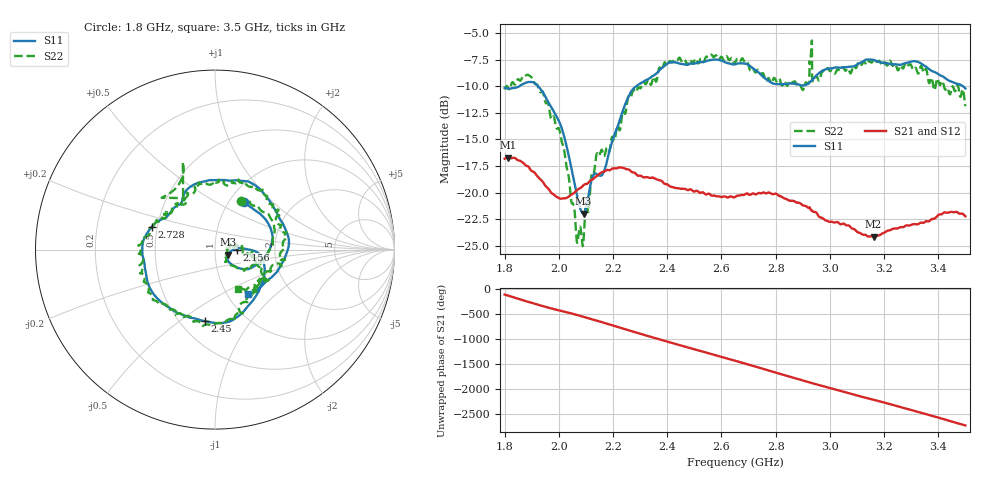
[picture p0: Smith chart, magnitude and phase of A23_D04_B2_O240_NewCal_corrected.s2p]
! Created with skrf 1.9.0 (http://scikit-rf.org).
# Hz S RI R 50.0
!freq ReS11 ImS11 ReS21 ImS21 ReS12 ImS12 ReS22 ImS22
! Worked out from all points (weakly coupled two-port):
!   1601 points, 1.8 GHz to 3.5 GHz, reference 50 ohm
!   highest |S21| = -16.71 dB at 1.812 GHz (marker M1); lowest = -24.2 dB at 3.161 GHz (marker M2)
!   lowest |S11| = -22.0 dB at 2.091 GHz (marker M3), VSWR 1.17, Z = 57.9 - j3.34 ohm
!   |S11| at or under -10 dB: start of sweep to 1.854 GHz; 1.923 GHz to 2.286 GHz (362.1 MHz wide, 17.2 % of centre); 3.491061 GHz to end of sweep
!   |S22| runs from -25.0 to -5.7 dB; largest |S21 - S12| = 0.0023
!   S11 on the Smith chart (normalised r, x): 1.8 GHz: 1.16, +0.69; 2.156 GHz: 1.27, -0.00; 2.45 GHz: 0.66, -0.63; 2.728 GHz: 0.47, +0.14; 3.5 GHz: 1.24, -0.68
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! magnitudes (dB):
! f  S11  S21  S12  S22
! 1.8 GHz  -10.1  -16.8  -16.8  -10.3
! 1.812 GHz  -10.2  -16.7  -16.7  -10.1
! 1.886 GHz  -9.6  -17.5  -17.6  -8.9
! 1.941 GHz  -10.6  -19.0  -19.0  -10.5
! 2.007 GHz  -13.7  -20.6  -20.5  -14.8
! 2.066 GHz  -20.1  -19.8  -19.8  -24.4
! 2.084 GHz  -21.8  -19.5  -19.5  -24.0
! 2.091 GHz  -22.0  -19.3  -19.3  -24.5
! 2.126 GHz  -18.4  -18.7  -18.7  -18.2
! 2.156 GHz  -18.4  -18.1  -18.1  -16.0
! 2.263 GHz  -10.7  -17.9  -17.9  -11.0
! 2.367 GHz  -8.6  -18.8  -18.8  -8.6
! 2.45 GHz  -7.9  -19.6  -19.6  -7.5
! 2.65 GHz  -7.9  -20.4  -20.4  -7.9
! 2.728 GHz  -8.5  -20.2  -20.2  -8.7
! 2.898 GHz  -9.9  -21.1  -21.1  -10.3
! 2.934 GHz  -9.4  -21.7  -21.7  -5.7
! 2.943 GHz  -9.2  -21.8  -21.8  -9.4
! 3.161 GHz  -7.5  -24.2  -24.1  -7.5
! 3.217 GHz  -7.9  -23.6  -23.5  -7.7
! 3.324 GHz  -7.7  -23.0  -22.9  -8.7
! 3.5 GHz  -10.2  -22.2  -22.2  -11.9
